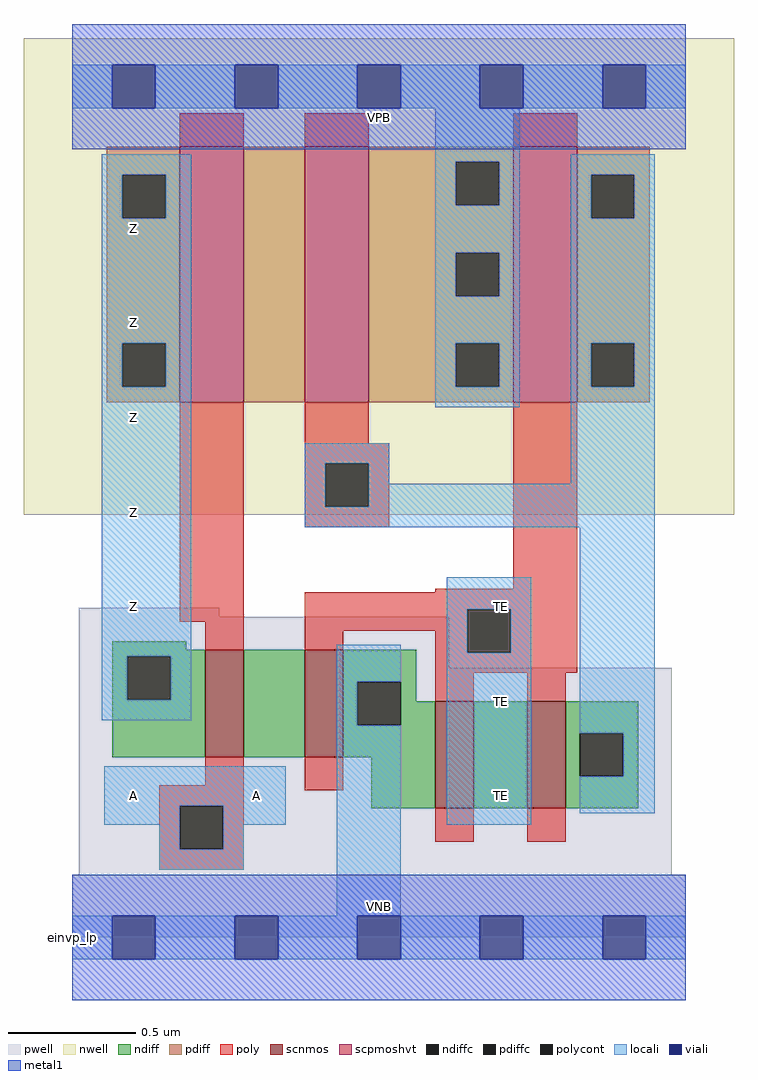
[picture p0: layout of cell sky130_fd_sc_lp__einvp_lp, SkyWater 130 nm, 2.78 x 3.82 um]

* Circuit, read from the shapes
.subckt sky130_fd_sc_lp__einvp_lp A TE VGND VNB VPB VPWR Z
XM1 n1 A Z VNB sky130_fd_pr__nfet_01v8 w=0.42 l=0.15
XM2 VGND TE n1 VNB sky130_fd_pr__nfet_01v8 w=0.42 l=0.15
XM3 n2 TE VGND VNB sky130_fd_pr__nfet_01v8 w=0.42 l=0.15
XM4 n3 TE n2 VNB sky130_fd_pr__nfet_01v8 w=0.42 l=0.15
XM5 n4 A Z VPB sky130_fd_pr__pfet_01v8_hvt w=1 l=0.25
XM6 VPWR n3 n4 VPB sky130_fd_pr__pfet_01v8_hvt w=1 l=0.25
XM7 n3 TE VPWR VPB sky130_fd_pr__pfet_01v8_hvt w=1 l=0.25
.ends

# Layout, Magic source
magic
tech sky130A
magscale 1 2
<< nwell >>
rect -38 331 518 704
<< pwell >>
rect 5 251 115 258
rect 5 211 295 251
rect 5 49 469 211
rect 0 0 480 49
<< scnmos >>
rect 104 141 134 225
rect 182 141 212 225
rect 284 101 314 185
rect 356 101 386 185
<< scpmoshvt >>
rect 84 419 134 619
rect 182 419 232 619
rect 345 419 395 619
<< ndiff >>
rect 31 225 89 232
rect 31 220 104 225
rect 31 186 43 220
rect 77 186 104 220
rect 31 141 104 186
rect 134 141 182 225
rect 212 200 269 225
rect 212 166 223 200
rect 257 185 269 200
rect 257 166 284 185
rect 212 141 284 166
rect 234 101 284 141
rect 314 101 356 185
rect 386 160 443 185
rect 386 126 397 160
rect 431 126 443 160
rect 386 101 443 126
<< pdiff >>
rect 27 597 84 619
rect 27 563 39 597
rect 73 563 84 597
rect 27 465 84 563
rect 27 431 39 465
rect 73 431 84 465
rect 27 419 84 431
rect 134 419 182 619
rect 232 607 345 619
rect 232 573 300 607
rect 334 573 345 607
rect 232 536 345 573
rect 232 502 300 536
rect 334 502 345 536
rect 232 465 345 502
rect 232 431 300 465
rect 334 431 345 465
rect 232 419 345 431
rect 395 597 452 619
rect 395 563 406 597
rect 440 563 452 597
rect 395 465 452 563
rect 395 431 406 465
rect 440 431 452 465
rect 395 419 452 431
<< ndiffc >>
rect 43 186 77 220
rect 223 166 257 200
rect 397 126 431 160
<< pdiffc >>
rect 39 563 73 597
rect 39 431 73 465
rect 300 573 334 607
rect 300 502 334 536
rect 300 431 334 465
rect 406 563 440 597
rect 406 431 440 465
<< poly >>
rect 84 619 134 645
rect 182 619 232 645
rect 345 619 395 645
rect 84 247 134 419
rect 182 387 232 419
rect 182 371 248 387
rect 182 337 198 371
rect 232 337 248 371
rect 182 321 248 337
rect 345 273 395 419
rect 284 270 395 273
rect 104 225 134 247
rect 182 257 395 270
rect 182 240 309 257
rect 182 225 212 240
rect 284 223 309 240
rect 343 223 395 257
rect 284 207 395 223
rect 284 185 314 207
rect 356 185 386 207
rect 104 119 134 141
rect 68 103 134 119
rect 182 115 212 141
rect 68 69 84 103
rect 118 69 134 103
rect 284 75 314 101
rect 356 75 386 101
rect 68 53 134 69
<< polycont >>
rect 198 337 232 371
rect 309 223 343 257
rect 84 69 118 103
<< locali >>
rect 0 649 31 683
rect 65 649 127 683
rect 161 649 223 683
rect 257 649 319 683
rect 353 649 415 683
rect 449 649 480 683
rect 23 597 93 613
rect 23 563 39 597
rect 73 563 93 597
rect 23 465 93 563
rect 23 431 39 465
rect 73 431 93 465
rect 23 220 93 431
rect 284 607 350 649
rect 284 573 300 607
rect 334 573 350 607
rect 284 536 350 573
rect 284 502 300 536
rect 334 502 350 536
rect 284 465 350 502
rect 284 431 300 465
rect 334 431 350 465
rect 284 415 350 431
rect 390 597 456 613
rect 390 563 406 597
rect 440 563 456 597
rect 390 465 456 563
rect 390 431 406 465
rect 440 431 456 465
rect 182 371 248 387
rect 182 337 198 371
rect 232 355 248 371
rect 390 355 456 431
rect 232 337 456 355
rect 182 321 456 337
rect 293 257 359 282
rect 23 186 43 220
rect 77 186 93 220
rect 23 170 93 186
rect 207 200 257 229
rect 207 166 223 200
rect 25 103 167 134
rect 25 88 84 103
rect 68 69 84 88
rect 118 88 167 103
rect 118 69 134 88
rect 68 53 134 69
rect 207 17 257 166
rect 293 223 309 257
rect 343 223 359 257
rect 293 88 359 223
rect 397 160 456 321
rect 431 126 456 160
rect 397 97 456 126
rect 0 -17 31 17
rect 65 -17 127 17
rect 161 -17 223 17
rect 257 -17 319 17
rect 353 -17 415 17
rect 449 -17 480 17
<< viali >>
rect 31 649 65 683
rect 127 649 161 683
rect 223 649 257 683
rect 319 649 353 683
rect 415 649 449 683
rect 31 -17 65 17
rect 127 -17 161 17
rect 223 -17 257 17
rect 319 -17 353 17
rect 415 -17 449 17
<< metal1 >>
rect 0 683 480 715
rect 0 649 31 683
rect 65 649 127 683
rect 161 649 223 683
rect 257 649 319 683
rect 353 649 415 683
rect 449 649 480 683
rect 0 617 480 649
rect 0 17 480 49
rect 0 -17 31 17
rect 65 -17 127 17
rect 161 -17 223 17
rect 257 -17 319 17
rect 353 -17 415 17
rect 449 -17 480 17
rect 0 -49 480 -17
<< labels >>
flabel pwell s 0 0 480 49 0 FreeSans 200 0 0 0 VNB
port 4 nsew ground bidirectional
flabel nwell s 0 617 480 666 0 FreeSans 200 0 0 0 VPB
port 5 nsew power bidirectional
rlabel comment s 0 0 0 0 4 einvp_lp
flabel metal1 s 0 617 480 666 0 FreeSans 340 0 0 0 VPWR
port 6 nsew power bidirectional
flabel metal1 s 0 0 480 49 0 FreeSans 340 0 0 0 VGND
port 3 nsew ground bidirectional
flabel locali s 319 94 353 128 0 FreeSans 340 0 0 0 TE
port 2 nsew signal input
flabel locali s 319 168 353 202 0 FreeSans 340 0 0 0 TE
port 2 nsew signal input
flabel locali s 319 242 353 276 0 FreeSans 340 0 0 0 TE
port 2 nsew signal input
flabel locali s 31 94 65 128 0 FreeSans 340 0 0 0 A
port 1 nsew signal input
flabel locali s 127 94 161 128 0 FreeSans 340 0 0 0 A
port 1 nsew signal input
flabel locali s 31 242 65 276 0 FreeSans 340 0 0 0 Z
port 7 nsew signal output
flabel locali s 31 316 65 350 0 FreeSans 340 0 0 0 Z
port 7 nsew signal output
flabel locali s 31 390 65 424 0 FreeSans 340 0 0 0 Z
port 7 nsew signal output
flabel locali s 31 464 65 498 0 FreeSans 340 0 0 0 Z
port 7 nsew signal output
flabel locali s 31 538 65 572 0 FreeSans 340 0 0 0 Z
port 7 nsew signal output
<< properties >>
string LEFsite unit
string LEFclass CORE
string FIXED_BBOX 0 0 480 666
string GDS_FILE $PDKPATH/libs.ref/sky130_fd_sc_lp/gds/sky130_fd_sc_lp.gds
string LEFsymmetry X Y R90
string GDS_END 3042402
string GDS_START 3037288
<< end >>
